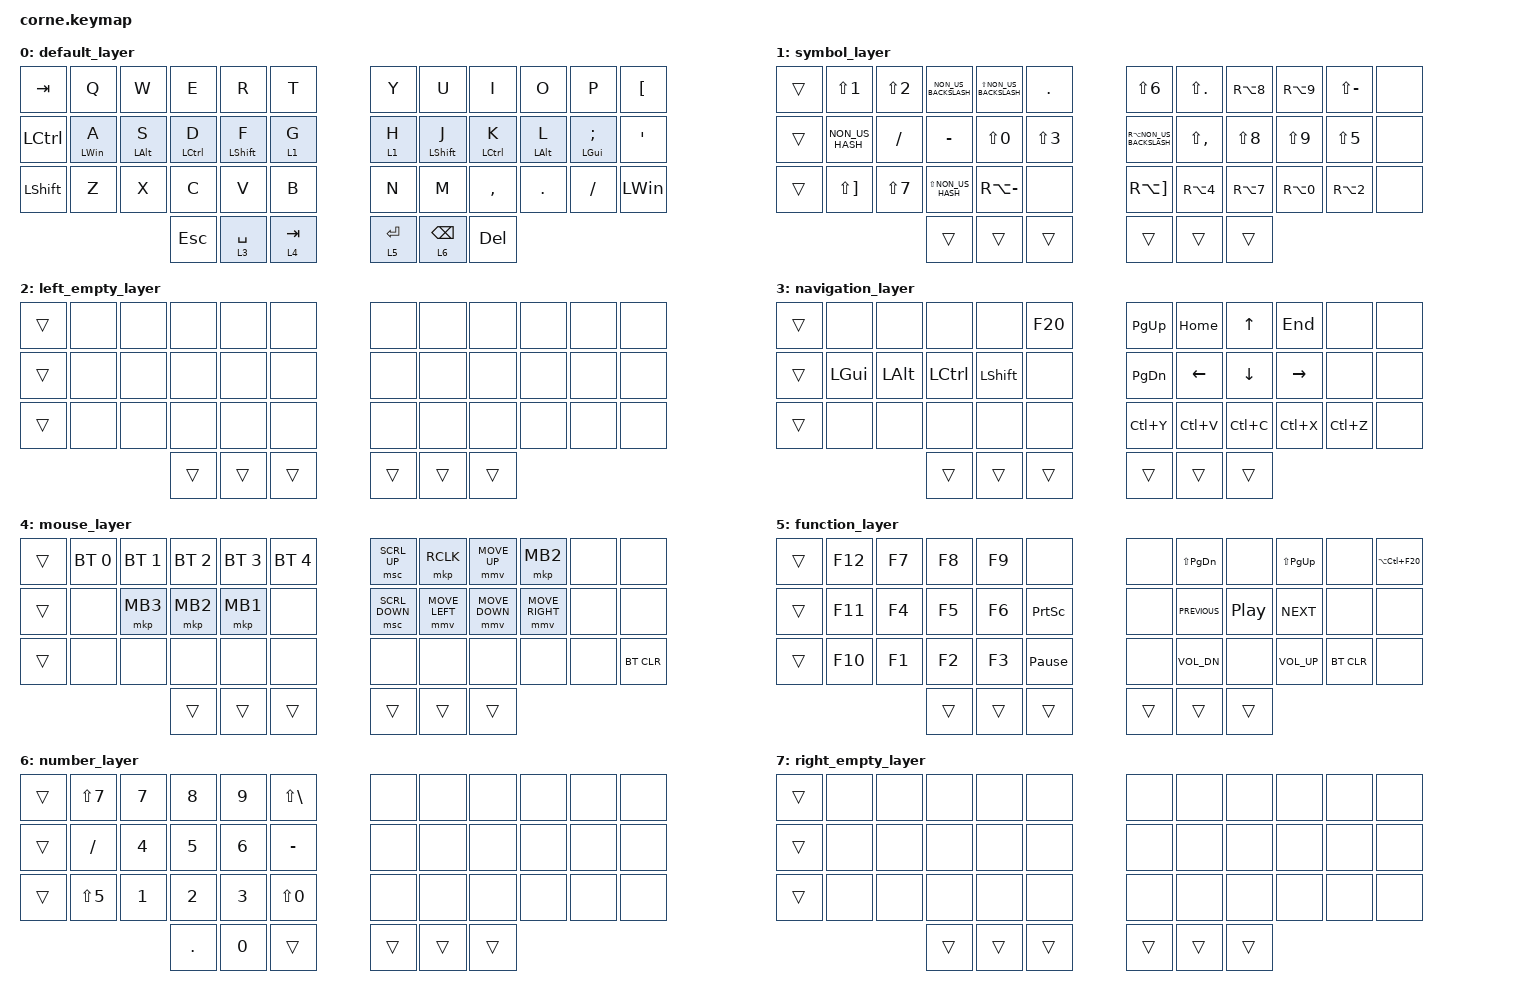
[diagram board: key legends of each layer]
/*
 * Copyright (c) 2020 The ZMK Contributors
 *
 * SPDX-License-Identifier: MIT
 */

#include <behaviors.dtsi>
#include <dt-bindings/zmk/bt.h>
#include <dt-bindings/zmk/keys.h>
#include <dt-bindings/zmk/pointing.h>

&mt {
    flavor = "balanced";
    tapping-term-ms = <200>;
    quick-tap-ms = <150>;
};

&lt {
    flavor = "balanced";
    tapping-term-ms = <200>;
};

/ {
    keymap {
        compatible = "zmk,keymap";

        default_layer {
            // -----------------------------------------------------------------------------------------
            // |  TAB |  Q  |  W  |  E  |  R  |  T  |   |  Y  |  U   |  I  |  O  |  P  | BSPC |
            // | CTRL |  A  |  S  |  D  |  F  |  G  |   |  H  |  J   |  K  |  L  |  ;  |  '   |
            // | SHFT |  Z  |  X  |  C  |  V  |  B  |   |  N  |  M   |  ,  |  .  |  /  | ESC  |
            //                    | GUI | LWR | SPC |   | ENT | RSE  | ALT |

            bindings = <
&kp TAB    &kp Q           &kp W           &kp E        &kp R             &kp T        &kp Y        &kp U             &kp I        &kp O           &kp P              &kp LBKT
&kp LCTRL  &mt LEFT_WIN A  &mt LEFT_ALT S  &mt LCTRL D  &mt LEFT_SHIFT F  &lt 1 G      &lt 1 H      &mt LEFT_SHIFT J  &mt LCTRL K  &mt LEFT_ALT L  &mt LEFT_GUI SEMI  &kp SQT
&kp LSHFT  &kp Z           &kp X           &kp C        &kp V             &kp B        &kp N        &kp M             &kp COMMA    &kp DOT         &kp FSLH           &kp LEFT_WIN
                                           &kp ESCAPE   &lt 3 SPACE       &lt 4 TAB    &lt 5 ENTER  &lt 6 BACKSPACE   &kp DEL
            >;
        };

        symbol_layer {
            // -----------------------------------------------------------------------------------------
            // |  TAB |  1  |  2  |  3  |  4  |  5  |   |  6  |  7  |  8  |  9  |  0  | BSPC |
            // | BTCLR| BT1 | BT2 | BT3 | BT4 | BT5 |   | LFT | DWN |  UP | RGT |     |      |
            // | SHFT |     |     |     |     |     |   |     |     |     |     |     |      |
            //                    | GUI |     | SPC |   | ENT |     | ALT |

            bindings = <
&trans  &kp LS(N1)       &kp LS(N2)  &kp NON_US_BACKSLASH  &kp LS(NON_US_BACKSLASH)  &kp DOT       &kp LS(N6)                &kp LS(DOT)    &kp RA(N8)  &kp RA(N9)  &kp LS(MINUS)  &none
&trans  &kp NON_US_HASH  &kp FSLH    &kp MINUS             &kp LS(N0)                &kp LS(N3)    &kp RA(NON_US_BACKSLASH)  &kp LS(COMMA)  &kp LS(N8)  &kp LS(N9)  &kp LS(N5)     &none
&trans  &kp LS(RBKT)     &kp LS(N7)  &kp LS(NON_US_HASH)   &kp RA(MINUS)             &none         &kp RA(RBKT)              &kp RA(N4)     &kp RA(N7)  &kp RA(N0)  &kp RA(N2)     &none
                                     &trans                &trans                    &trans        &trans                    &trans         &trans
            >;
        };

        left_empty_layer {
            bindings = <
&trans  &none  &none  &none   &none   &none     &none   &none   &none   &none  &none  &none
&trans  &none  &none  &none   &none   &none     &none   &none   &none   &none  &none  &none
&trans  &none  &none  &none   &none   &none     &none   &none   &none   &none  &none  &none
                      &trans  &trans  &trans    &trans  &trans  &trans
            >;
        };

        navigation_layer {
            bindings = <
&trans  &none     &none     &none      &none      &kp F20    &kp PAGE_UP    &kp HOME   &kp UP_ARROW    &kp END    &none      &none
&trans  &kp LGUI  &kp LALT  &kp LCTRL  &kp LSHFT  &none      &kp PAGE_DOWN  &kp LEFT   &kp DOWN_ARROW  &kp RIGHT  &none      &none
&trans  &none     &none     &none      &none      &none      &kp LC(Y)      &kp LC(V)  &kp LC(C)       &kp LC(X)  &kp LC(Z)  &none
                            &trans     &trans     &trans     &trans         &trans     &trans
            >;
        };

        mouse_layer {
            bindings = <
&trans  &bt BT_SEL 0  &bt BT_SEL 1  &bt BT_SEL 2  &bt BT_SEL 3  &bt BT_SEL 4    &msc SCRL_UP    &mkp RCLK       &mmv MOVE_UP    &mkp MB2         &none  &none
&trans  &none         &mkp MB3      &mkp MB2      &mkp MB1      &none           &msc SCRL_DOWN  &mmv MOVE_LEFT  &mmv MOVE_DOWN  &mmv MOVE_RIGHT  &none  &none
&trans  &none         &none         &none         &none         &none           &none           &none           &none           &none            &none  &bt BT_CLR
                                    &trans        &trans        &trans          &trans          &trans          &trans
            >;
        };

        function_layer {
            bindings = <
&trans  &kp F12  &kp F7  &kp F8  &kp F9  &none              &none   &kp LS(PAGE_DOWN)  &none             &kp LS(PAGE_UP)  &none       &kp LA(LC(F20))
&trans  &kp F11  &kp F4  &kp F5  &kp F6  &kp PRINTSCREEN    &none   &kp C_PREVIOUS     &kp C_PLAY_PAUSE  &kp C_NEXT       &none       &none
&trans  &kp F10  &kp F1  &kp F2  &kp F3  &kp PAUSE_BREAK    &none   &kp C_VOL_DN       &none             &kp C_VOLUME_UP  &bt BT_CLR  &none
                         &trans  &trans  &trans             &trans  &trans             &trans
            >;
        };

        number_layer {
            bindings = <
&trans  &kp LS(N7)  &kp N7  &kp N8   &kp N9  &kp LS(BACKSLASH)    &none   &none   &none   &none  &none  &none
&trans  &kp FSLH    &kp N4  &kp N5   &kp N6  &kp MINUS            &none   &none   &none   &none  &none  &none
&trans  &kp LS(N5)  &kp N1  &kp N2   &kp N3  &kp LS(N0)           &none   &none   &none   &none  &none  &none
                            &kp DOT  &kp N0  &trans               &trans  &trans  &trans
            >;
        };

        right_empty_layer {
            bindings = <
&trans  &none  &none  &none   &none   &none     &none   &none   &none   &none  &none  &none
&trans  &none  &none  &none   &none   &none     &none   &none   &none   &none  &none  &none
&trans  &none  &none  &none   &none   &none     &none   &none   &none   &none  &none  &none
                      &trans  &trans  &trans    &trans  &trans  &trans
            >;
        };
    };
};
